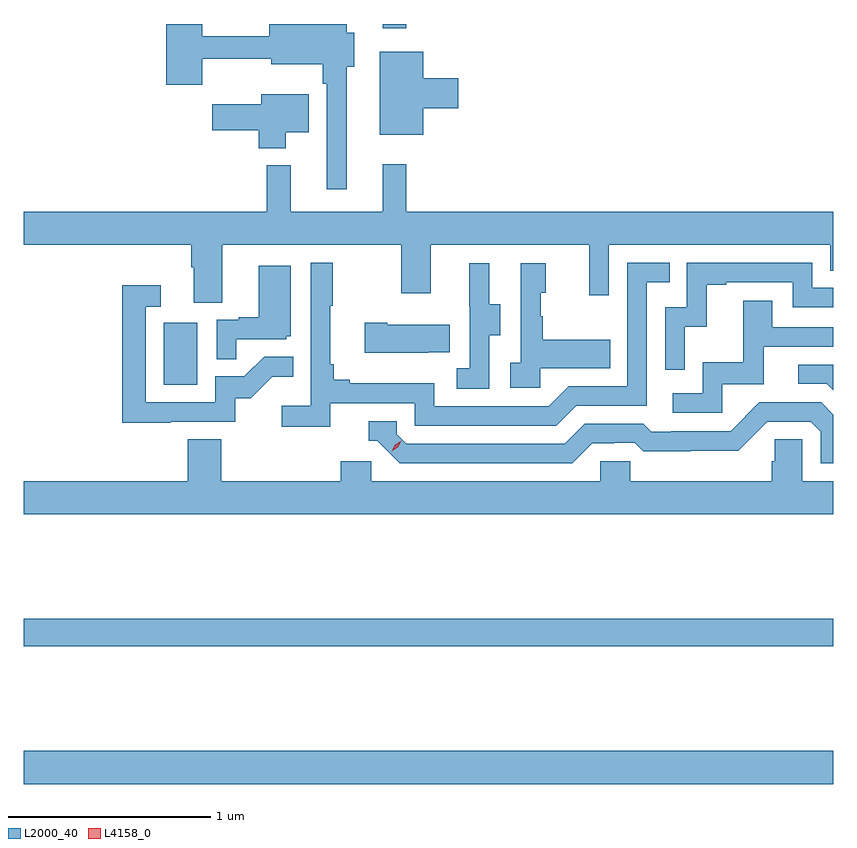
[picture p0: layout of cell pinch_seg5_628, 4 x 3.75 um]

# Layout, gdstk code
import gdstk
lib = gdstk.Library(unit=1e-6, precision=1e-09)
def R(c, l, rs):  # rectangles x0, y0, x1, y1
    for r in rs: c.add(gdstk.rectangle(r[:2], r[2:], *l))
def P(c, l, *ps):  # polygons
    for p in ps: c.add(gdstk.Polygon(p, *l))
L2000_40 = (2000, 40)
L4158_0 = (4158, 0)

pinch_seg5_628 = lib.new_cell('pinch_seg5_628')
R(pinch_seg5_628, L2000_40, [(1044.635,862.088,1048.635,862.252), (1044.635,862.768,1048.635,862.904), (1045.328,864.06,1045.492,864.367), (1046.408,865.821,1046.525,865.843)])
P(pinch_seg5_628, L2000_40, [(1046.23,865.631),(1046.269,865.631),(1046.269,865.801),(1046.23,865.801),(1046.23,865.843),(1045.848,865.843),(1045.848,865.783),(1045.518,865.783),(1045.518,865.843),(1045.34,865.843),(1045.34,865.542),(1045.518,865.542),(1045.518,865.672),(1045.859,865.672),(1045.859,865.643),(1046.113,865.643),(1046.113,865.547),(1046.133,865.547),(1046.133,865.026),(1046.23,865.026)],
  [(1046.608,865.427),(1046.782,865.427),(1046.782,865.574),(1046.608,865.574),(1046.608,865.705),(1046.393,865.705),(1046.393,865.295),(1046.608,865.295)],
  [(1045.93,865.307),(1046.044,865.307),(1046.044,865.495),(1045.808,865.495),(1045.808,865.447),(1045.566,865.447),(1045.566,865.318),(1045.796,865.318),(1045.796,865.229),(1045.93,865.229)],
  [(1045.615,864.752),(1046.5,864.752),(1046.5,864.513),(1046.647,864.513),(1046.647,864.752),(1047.428,864.752),(1047.428,864.504),(1047.525,864.504),(1047.525,864.752),(1048.62,864.752),(1048.62,864.625),(1048.635,864.625),(1048.635,864.916),(1046.525,864.916),(1046.525,865.15),(1046.408,865.15),(1046.408,864.916),(1045.955,864.916),(1045.955,865.144),(1045.837,865.144),(1045.837,864.916),(1044.635,864.916),(1044.635,864.752),(1045.463,864.752),(1045.463,864.64),(1045.475,864.64),(1045.475,864.466),(1045.615,864.466)],
  [(1046.15,863.97),(1046.568,863.97),(1046.568,863.859),(1047.265,863.859),(1047.364,863.958),(1047.714,863.958),(1047.714,864.567),(1047.827,864.567),(1047.827,864.663),(1047.618,864.663),(1047.618,864.054),(1047.327,864.054),(1047.228,863.955),(1046.664,863.955),(1046.664,864.067),(1046.245,864.067),(1046.245,864.086),(1046.168,864.086),(1046.168,864.163),(1046.149,864.163),(1046.149,864.451),(1046.161,864.451),(1046.161,864.664),(1046.052,864.664),(1046.052,863.956),(1045.911,863.956),(1045.911,863.854),(1046.15,863.854)],
  [(1047.9,864.347),(1048.01,864.347),(1048.01,864.555),(1048.105,864.555),(1048.105,864.567),(1048.434,864.567),(1048.434,864.444),(1048.635,864.444),(1048.635,864.54),(1048.53,864.54),(1048.53,864.663),(1047.912,864.663),(1047.912,864.444),(1047.804,864.444),(1047.804,864.135),(1047.9,864.135)],
  [(1047.186,864.143),(1047.533,864.143),(1047.533,864.283),(1047.199,864.283),(1047.199,864.398),(1047.189,864.398),(1047.189,864.516),(1047.214,864.516),(1047.214,864.661),(1047.09,864.661),(1047.09,864.17),(1047.039,864.17),(1047.039,864.045),(1047.186,864.045)],
  [(1046.934,864.304),(1046.989,864.304),(1046.989,864.459),(1046.935,864.459),(1046.935,864.661),(1046.837,864.661),(1046.837,864.447),(1046.838,864.447),(1046.838,864.143),(1046.775,864.143),(1046.775,864.04),(1046.934,864.04)],
  [(1045.685,864.285),(1045.932,864.285),(1045.932,864.3),(1045.954,864.3),(1045.954,864.649),(1045.796,864.649),(1045.796,864.394),(1045.697,864.394),(1045.697,864.381),(1045.59,864.381),(1045.59,864.187),(1045.685,864.187)],
  [(1045.361,863.877),(1045.68,863.877),(1045.68,863.994),(1045.756,863.994),(1045.863,864.101),(1045.967,864.101),(1045.967,864.2),(1045.823,864.2),(1045.725,864.102),(1045.581,864.102),(1045.581,863.973),(1045.239,863.973),(1045.239,864.447),(1045.312,864.447),(1045.312,864.553),(1045.123,864.553),(1045.123,863.872),(1045.361,863.872)],
  [(1048.086,864.063),(1048.291,864.063),(1048.291,864.249),(1048.635,864.249),(1048.635,864.345),(1048.333,864.345),(1048.333,864.475),(1048.189,864.475),(1048.189,864.172),(1047.99,864.172),(1047.99,864.018),(1047.843,864.018),(1047.843,863.922),(1048.086,863.922)],
  [(1046.633,864.221),(1046.741,864.221),(1046.741,864.358),(1046.431,864.358),(1046.431,864.366),(1046.319,864.366),(1046.319,864.218),(1046.633,864.218)],
  [(1048.635,864.159),(1048.461,864.159),(1048.461,864.066),(1048.602,864.066),(1048.635,864.033)],
  [(1047.445,863.772),(1047.552,863.772),(1047.552,863.775),(1047.655,863.775),(1047.697,863.733),(1047.93,863.733),(1047.93,863.735),(1048.166,863.735),(1048.308,863.877),(1048.524,863.877),(1048.572,863.829),(1048.572,863.673),(1048.635,863.673),(1048.635,863.913),(1048.575,863.973),(1048.269,863.973),(1048.128,863.832),(1047.835,863.832),(1047.835,863.829),(1047.736,863.829),(1047.697,863.868),(1047.408,863.868),(1047.309,863.769),(1046.526,863.769),(1046.478,863.817),(1046.478,863.88),(1046.339,863.88),(1046.339,863.784),(1046.382,863.784),(1046.493,863.673),(1047.346,863.673)],
  [(1048.635,863.584),(1048.482,863.584),(1048.482,863.792),(1048.345,863.792),(1048.345,863.682),(1048.331,863.682),(1048.331,863.584),(1047.633,863.584),(1047.633,863.682),(1047.483,863.682),(1047.483,863.584),(1046.352,863.584),(1046.352,863.682),(1046.201,863.682),(1046.201,863.584),(1045.61,863.584),(1045.61,863.792),(1045.445,863.792),(1045.445,863.584),(1044.635,863.584),(1044.635,863.42),(1048.635,863.42)])
P(pinch_seg5_628, L4158_0, [(1046.453,863.732),(1046.453,863.733),(1046.47,863.765),(1046.5,863.784),(1046.501,863.784),(1046.501,863.784),(1046.484,863.752),(1046.453,863.732)])

lib.write_gds('pinch_seg5_628.gds')
